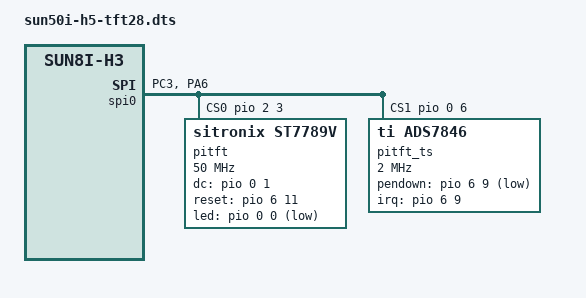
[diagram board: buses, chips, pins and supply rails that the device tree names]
/*
 * Device Tree overlay for Matrix - 2'8 SPI Key TFT
 */

/dts-v1/;
/plugin/;
#include <dt-bindings/gpio/gpio.h>
#include <dt-bindings/interrupt-controller/irq.h>
/ {
	compatible = "allwinner,sun8i-h3";

	fragment@0 {
		target = <&spi0>;
		__overlay__ {
			status = "okay";
		};
	};

	fragment@1 {
		target = <&spidev0>;
		__overlay__ {
			status = "disabled";
		};
	};

	fragment@2 {
		target = <&pio>;
		__overlay__ {
			spi0_cs_pins: spi0_cs_pins {
				pins = "PC3", "PA6";
				function = "gpio_out";
			};
		};
	};

	fragment@3 {
		target = <&spi0>;
		__overlay__ {
			/* needed to avoid dtc warning */
			#address-cells = <1>;
			#size-cells = <0>;
			pinctrl-0 = <&spi0_pins &spi0_cs_pins>;
			cs-gpios = <&pio 2 3 GPIO_ACTIVE_HIGH>, <&pio 0 6 GPIO_ACTIVE_HIGH>;

			pitft: pitft@0{
				compatible = "sitronix,st7789v";
				reg = <0>;
				status = "okay";

				spi-max-frequency = <50000000>;
				rotate = <90>;
				fps = <33>;
				buswidth = <8>;
				dc-gpios = <&pio 0 1 GPIO_ACTIVE_HIGH>;	 /* PA1 */
				reset-gpios = <&pio 6 11 GPIO_ACTIVE_HIGH>; /* PG11 */
				led-gpios = <&pio 0 0 GPIO_ACTIVE_LOW>;	 /* PA0 */
				debug = <0x0>;
			};

			pitft_ts: pitft-ts@1 {
				compatible = "ti,ads7846";
				reg = <1>;
				status = "okay";

				spi-max-frequency = <2000000>;
				interrupt-parent = <&pio>;
				interrupts = <6 9 IRQ_TYPE_EDGE_FALLING>;   /* PG9 / EINT9 */
				pendown-gpio = <&pio 6 9 GPIO_ACTIVE_LOW>;
				ti,swap-xy;
				ti,vref-delay-usecs = <1000>;
				ti,x-min = /bits/ 16 <100>;
				ti,x-max = /bits/ 16 <0xfff>;
				ti,y-min = /bits/ 16 <100>;
				ti,y-max = /bits/ 16 <0xfff>;
				ti,vref-mv = <3300>;
				ti,x-plate-ohms = /bits/ 16 <256>;
				ti,penirq-recheck-delay-usecs = <10>;
				ti,settle-delay-usec = /bits/ 16 <100>;
				ti,keep-vref-on = <1>;
				ti,pressure-max = /bits/ 16 <0xfff>;
				ti,debounce-max = <10>;
				ti,debounce-tol = <30>;
				ti,debounce-rep = <1>;
			};
		};
	};
};
